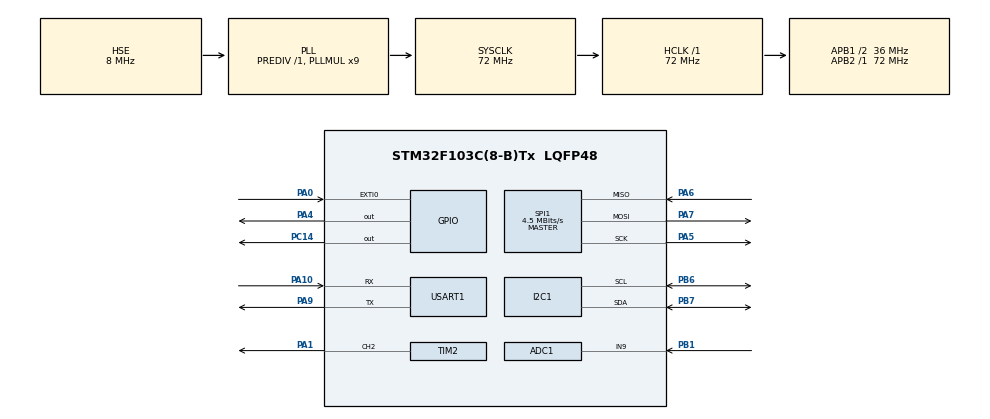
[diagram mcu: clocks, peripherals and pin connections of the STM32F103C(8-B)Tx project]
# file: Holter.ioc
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ADC1.Channel-1\#ChannelRegularConversion=ADC_CHANNEL_9
ADC1.ContinuousConvMode=DISABLE
ADC1.EnableInjectedConversion=DISABLE
ADC1.EnableRegularConversion=ENABLE
ADC1.ExternalTrigConv=ADC_EXTERNALTRIGCONV_T2_CC2
ADC1.NbrOfConversionFlag=1
ADC1.Rank-1\#ChannelRegularConversion=1
ADC1.SamplingTime-1\#ChannelRegularConversion=ADC_SAMPLETIME_239CYCLES_5
ADC1.master=1
Dma.ADC1.0.Direction=DMA_PERIPH_TO_MEMORY
Dma.ADC1.0.Instance=DMA1_Channel1
Dma.ADC1.0.MemDataAlignment=DMA_MDATAALIGN_HALFWORD
Dma.ADC1.0.MemInc=DMA_MINC_ENABLE
Dma.ADC1.0.Mode=DMA_CIRCULAR
Dma.ADC1.0.PeriphDataAlignment=DMA_PDATAALIGN_HALFWORD
Dma.ADC1.0.PeriphInc=DMA_PINC_DISABLE
Dma.ADC1.0.Priority=DMA_PRIORITY_HIGH
Dma.Request0=ADC1
FATFS._MAX_SS=4096
FATFS._USE_LFN=1
I2C1.I2C_Mode=I2C_Standard
Mcu.Family=STM32F1
Mcu.Name=STM32F103C(8-B)Tx
Mcu.Package=LQFP48
NVIC.DMA1_Channel1_IRQn=true\:0\:0\:false\:false\:true\:false\:true\:true
NVIC.EXTI0_IRQn=true\:0\:0\:false\:false\:true\:true\:true\:true
NVIC.PriorityGroup=NVIC_PRIORITYGROUP_4
PA0-WKUP.GPIO_ModeDefaultEXTI=GPIO_MODE_IT_FALLING
PA0-WKUP.Signal=GPXTI0
PA1.Signal=S_TIM2_CH2
PA10.Mode=Asynchronous
PA10.Signal=USART1_RX
PA13.Mode=Serial_Wire
PA13.Signal=SYS_JTMS-SWDIO
PA14.Mode=Serial_Wire
PA14.Signal=SYS_JTCK-SWCLK
PA4.GPIO_Speed=GPIO_SPEED_FREQ_MEDIUM
PA4.PinState=GPIO_PIN_SET
PA4.Signal=GPIO_Output
PA5.Mode=Full_Duplex_Master
PA5.Signal=SPI1_SCK
PA6.Mode=Full_Duplex_Master
PA6.Signal=SPI1_MISO
PA7.Mode=Full_Duplex_Master
PA7.Signal=SPI1_MOSI
PA9.Mode=Asynchronous
PA9.Signal=USART1_TX
PB1.Signal=ADCx_IN9
PB6.Mode=I2C
PB6.Signal=I2C1_SCL
PB7.Mode=I2C
PB7.Signal=I2C1_SDA
PC14-OSC32_IN.Signal=GPIO_Output
PD0-OSC_IN.Mode=HSE-External-Oscillator
PD0-OSC_IN.Signal=RCC_OSC_IN
PD1-OSC_OUT.Mode=HSE-External-Oscillator
PD1-OSC_OUT.Signal=RCC_OSC_OUT
ProjectManager.HeapSize=0x200
ProjectManager.StackSize=0x400
ProjectManager.TargetToolchain=STM32CubeIDE
RCC.ADCPresc=RCC_ADCPCLK2_DIV6
RCC.AHBFreq_Value=72000000
RCC.APB1CLKDivider=RCC_HCLK_DIV2
RCC.APB1Freq_Value=36000000
RCC.APB1TimFreq_Value=72000000
RCC.APB2Freq_Value=72000000
RCC.APB2TimFreq_Value=72000000
RCC.HCLKFreq_Value=72000000
RCC.PLLMUL=RCC_PLL_MUL9
RCC.PLLSourceVirtual=RCC_PLLSOURCE_HSE
RCC.SYSCLKFreq_VALUE=72000000
RCC.SYSCLKSource=RCC_SYSCLKSOURCE_PLLCLK
RCC.USBFreq_Value=72000000
SH.ADCx_IN9.0=ADC1_IN9,IN9
SH.S_TIM2_CH2.0=TIM2_CH2,PWM Generation2 CH2
SPI1.BaudRatePrescaler=SPI_BAUDRATEPRESCALER_16
SPI1.CalculateBaudRate=4.5 MBits/s
SPI1.Direction=SPI_DIRECTION_2LINES
SPI1.Mode=SPI_MODE_MASTER
SPI1.VirtualType=VM_MASTER
TIM2.Channel-PWM\ Generation2\ CH2=TIM_CHANNEL_2
TIM2.OCMode_PWM-PWM\ Generation2\ CH2=TIM_OCMODE_PWM2
TIM2.Period=99
TIM2.Prescaler=1439
TIM2.Pulse-PWM\ Generation2\ CH2=50
TIM2.TIM_MasterOutputTrigger=TIM_TRGO_OC2REF
USART1.VirtualMode=VM_ASYNC
VP_FATFS_VS_Generic.Mode=User_defined
VP_TIM2_VS_ClockSourceINT.Mode=Internal
board=custom

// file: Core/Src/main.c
/* USER CODE BEGIN Header */
/**
 * Version funcional 100% ok

 *
  ******************************************************************************
  * @file           : main.c
  * @brief          : Main program body
  ******************************************************************************
  * @attention
  *
  * Copyright (c) 2025 STMicroelectronics.
  * All rights reserved.
  *
  * This software is licensed under terms that can be found in the LICENSE file
  * in the root directory of this software component.
  * If no LICENSE file comes with this software, it is provided AS-IS.
  *
  ******************************************************************************
  ******************************************************************************
  SPI:
  A4 - CS
  A5 - SCK
  A6 - MISO
  A7 - MOSI
  */
/* USER CODE END Header */
#include "main.h"
#include "fatfs.h"

/* USER CODE BEGIN Includes */
#include <string.h>
#include <stdio.h>

#define ARM_MATH_CM3   // para tu STM32F1 (Cortex-M3)
#include "arm_math.h"
#include "filter_coeffs_q15.h"
#define USE_FILTER   0//1   // pon 0 para grabar crudo
#if USE_FILTER

	static arm_biquad_casd_df1_inst_q15 S;
#endif

/* USER CODE END Includes */

ADC_HandleTypeDef hadc1;
DMA_HandleTypeDef hdma_adc1;

I2C_HandleTypeDef hi2c1;

SPI_HandleTypeDef hspi1;

TIM_HandleTypeDef htim2;

UART_HandleTypeDef huart1;

/* USER CODE BEGIN PV */
uint16_t adc_val = 0;
char msg[32];

#define PF_ALERT_GPIO_Port GPIOA
#define PF_ALERT_Pin       GPIO_PIN_0 // El pin EXTI0
// NUEVAS BANDERAS:
static volatile uint8_t power_fail_flag = 0; // Flag de alerta desde EXTI
static volatile uint8_t acquiring_data = 0;  // Flag de estado del sistema
volatile uint8_t power_is_on = 1;

/* USER CODE END PV */

void SystemClock_Config(void);
static void MX_GPIO_Init(void);
static void MX_DMA_Init(void);
static void MX_USART1_UART_Init(void);
static void MX_ADC1_Init(void);
static void MX_SPI1_Init(void);
static void MX_TIM2_Init(void);
static void MX_I2C1_Init(void);
/* USER CODE BEGIN PFP */
static void log_uart(const char *txt, FRESULT fr)
{
    char buf[64];
    int n = sprintf(buf, "%s: %d\r\n", txt, fr);
    HAL_UART_Transmit(&huart1, (uint8_t*)buf, n, HAL_MAX_DELAY);
}
uint8_t decToBcd(uint8_t val) {
    return ( (val/10*16) + (val%10) );
}
uint8_t bcdToDec(uint8_t val) {
    return ( (val/16*10) + (val%16) );
}

/* --- add near top --- */
#define DS3231_ADDR_7BIT 0x68
#define DS3231_ADDR      (DS3231_ADDR_7BIT << 1)

void DS3231_SetTimeDate(uint8_t hour, uint8_t min, uint8_t sec,
                        uint8_t day, uint8_t date, uint8_t month, uint8_t year)
{
    uint8_t buffer[7];
    buffer[0] = decToBcd(sec);
    buffer[1] = decToBcd(min);
    buffer[2] = decToBcd(hour);   // formato 24h
    buffer[3] = decToBcd(day);    // 1=lunes … 7=domingo
    buffer[4] = decToBcd(date);
    buffer[5] = decToBcd(month);
    buffer[6] = decToBcd(year);   // últimos 2 dígitos

    HAL_I2C_Mem_Write(&hi2c1, DS3231_ADDR, 0x00, 1, buffer, 7, HAL_MAX_DELAY);
}
typedef struct {
    uint8_t sec;
    uint8_t min;
    uint8_t hour;
    uint8_t day;    // día de la semana
    uint8_t date;   // día del mes
    uint8_t month;
    uint8_t year;
} RTC_DateTime;

/* ----------------- helpers ------------------ */
static FRESULT write_timestamp_line(FIL *ftime, uint32_t block_idx, const RTC_DateTime *dt)
{
    char line[64];
    int n = snprintf(line, sizeof(line), "%06lu,%04u-%02u-%02u %02u:%02u:%02u\r\n",
                     (unsigned long)block_idx,
                     2000 + dt->year, dt->month, dt->date,
                     dt->hour, dt->min, dt->sec);
    UINT bw = 0;
    return f_write(ftime, line, n, &bw);
}
/* ----------------- helpers ------------------ */
// Función de log unificada para OPEN, CLOSE y BLOCK
static FRESULT write_log_line(FIL *ftime, const char *prefix, uint32_t block_idx, const RTC_DateTime *dt)
{
    char line[64];
    int n;
    UINT bw = 0;

    if (strcmp(prefix, "BLOCK") == 0) {
        // Formato: 000000,YYYY-MM-DD HH:MM:SS
        n = snprintf(line, sizeof(line), "%06lu,%04u-%02u-%02u %02u:%02u:%02u\r\n",
                     (unsigned long)block_idx,
                     2000 + dt->year, dt->month, dt->date,
                     dt->hour, dt->min, dt->sec);
    } else { // "OPEN" o "CLOSE"
        // Formato: OPEN,YYYY-MM-DD HH:MM:SS
        n = snprintf(line, sizeof(line), "%s,%04u-%02u-%02u %02u:%02u:%02u\r\n",
                     prefix,
                     2000 + dt->year, dt->month, dt->date,
                     dt->hour, dt->min, dt->sec);
    }
    return f_write(ftime, line, n, &bw);
}
/* Use consistent HAL I2C functions: */
void DS3231_GetTimeDate(RTC_DateTime *dt)
{
    uint8_t buffer[7];
    HAL_I2C_Mem_Read(&hi2c1, DS3231_ADDR, 0x00, 1, buffer, 7, HAL_MAX_DELAY);
    dt->sec   = bcdToDec(buffer[0]);
    dt->min   = bcdToDec(buffer[1]);
    dt->hour  = bcdToDec(buffer[2] & 0x3F);
    dt->day   = bcdToDec(buffer[3]);
    dt->date  = bcdToDec(buffer[4]);
    dt->month = bcdToDec(buffer[5]);
    dt->year  = bcdToDec(buffer[6]);
}

/* ---- Función que crea ambos archivos (ECG + TST) con el mismo índice ---- */
static FRESULT Open_Paired_Files(FIL *f_ecg, FIL *f_tst)
{
    char name_ecg[24], name_tst[24];
    FRESULT fr;
    for (int i = 1; i < 1000; ++i)
    {
        snprintf(name_ecg, sizeof(name_ecg), "FILE_%03d.ECG", i);
        FILINFO finfo;
        if (f_stat(name_ecg, &finfo) == FR_OK) continue; // existe, probar siguiente

        // crear ECG
        fr = f_open(f_ecg, name_ecg, FA_CREATE_ALWAYS | FA_WRITE | FA_READ);
        if (fr != FR_OK) return fr;

        // crear TST con mismo índice
        snprintf(name_tst, sizeof(name_tst), "FILE_%03d.TST", i);
        fr = f_open(f_tst, name_tst, FA_CREATE_ALWAYS | FA_WRITE | FA_READ);

        if (fr != FR_OK)
        {
            f_close(f_ecg);
            return fr;
        }

        return FR_OK; // ambos creados
    }
    return FR_DISK_ERR;
}

//FIltro digitl
static inline uint16_t process_sample(uint16_t raw)
{
#if USE_FILTER
    q15_t x = ADC_TO_Q15(raw);
    q15_t y;
    arm_biquad_cascade_df1_q15(&S, &x, &y, 1);
    return Q15_TO_ADC(y);
#else
    return raw;
#endif
}

///////////////////////////////////////+++++++++++++++++++++++++++++++
#include <math.h>  // necesario para lroundf
#include <stdbool.h>
static const uint8_t  NOTCH_HZ = 60;      // 50, 60 o 0 (desactivado)
/* ============== FILTROS ============== */
/* Parámetros Hampel / Media móvil */
#define HAMP_WIN 7
#define HAMP_K   6.0f
#define MA_WIN   9

/* Estado de filtros */
struct ECGFilt {
  // High-pass 0.5 Hz (biquad)
  float hp_b0, hp_b1, hp_b2, hp_a1, hp_a2;
  float hp_x1, hp_x2, hp_y1, hp_y2;

  // Notch opcional
  bool  notch_en;
  float no_b0, no_b1, no_b2, no_a1, no_a2;
  float no_x1, no_x2, no_y1, no_y2;

  // Hampel
  float ring[HAMP_WIN];
  int   idx;
  bool  primed;

  // Media móvil
  float ma_ring[MA_WIN];
  int   ma_idx;
  float ma_sum;
  bool  ma_primed;
} g;

static inline float biquad_step(float x,
        float b0, float b1, float b2,
        float a1, float a2,
        float *x1, float *x2,
        float *y1, float *y2)
{
    float y = b0*x + b1*(*x1) + b2*(*x2) - a1*(*y1) - a2*(*y2);
    *x2 = *x1;
    *x1 = x;
    *y2 = *y1;
    *y1 = y;
    return y;
}

/* Inicializa High-pass 0.5 Hz (bilineal, Q ~ 0.707) */
void biquad_init_hp_0p5Hz() {
  const float fs = (float)FS_HZ;
  const float fc = 0.5f;
  const float q  = 0.707f;
  const float K  = tanf(PI * fc / fs);
  const float norm = 1.0f / (1.0f + K/q + K*K);
  g.hp_b0 =  1.0f * norm;
  g.hp_b1 = -2.0f * norm;
  g.hp_b2 =  1.0f * norm;
  g.hp_a1 =  2.0f*(K*K - 1.0f) * norm;
  g.hp_a2 =  (1.0f - K/q + K*K) * norm;
  g.hp_x1 = g.hp_x2 = g.hp_y1 = g.hp_y2 = 0.0f;
}

/* Inicializa Notch (50/60 Hz) con Q ~ 30 */
void biquad_init_notch(uint8_t f0_hz)
{
  if (f0_hz == 0) { g.notch_en = false; return; }
  const float fs   = (float)FS_HZ;
  const float q    = 30.0f;
  const float w0   = 2.0f*PI * (float)f0_hz / fs;
  const float cosw = cosf(w0), sinw = sinf(w0);
  const float alpha= sinw/(2.0f*q);

  float b0=1.0f, b1=-2.0f*cosw, b2=1.0f;
  float a0=1.0f+alpha, a1=-2.0f*cosw, a2=1.0f-alpha;

  g.no_b0 = b0/a0; g.no_b1 = b1/a0; g.no_b2 = b2/a0;
  g.no_a1 = a1/a0; g.no_a2 = a2/a0;
  g.no_x1 = g.no_x2 = g.no_y1 = g.no_y2 = 0.0f;
  g.notch_en = true;
}

/* Mediana y MAD de 7 (inserción) */
static float median7(const float *v) {
  float a[HAMP_WIN];
  for (int i=0;i<HAMP_WIN;i++) a[i]=v[i];
  for (int i=1;i<HAMP_WIN;i++){
    float key=a[i]; int j=i-1;
    while (j>=0 && a[j]>key){ a[j+1]=a[j]; j--; }
    a[j+1]=key;
  }
  return a[HAMP_WIN/2];
}
static float mad7(const float *v, float med) {
  float d[HAMP_WIN];
  for (int i=0;i<HAMP_WIN;i++) d[i]=fabsf(v[i]-med);
  for (int i=1;i<HAMP_WIN;i++){
    float key=d[i]; int j=i-1;
    while (j>=0 && d[j]>key){ d[j+1]=d[j]; j--; }
    d[j+1]=key;
  }
  return 1.4826f * d[HAMP_WIN/2] + 1e-6f;
}

/* Init pipeline */
void ecgFilt_init()
{
  memset(&g, 0, sizeof(g));
  biquad_init_hp_0p5Hz();
  biquad_init_notch(NOTCH_HZ); // 50, 60 o 0
}

/* Una muestra raw (centrada) -> filtrada */
float ecgFilt_step(int16_t x_raw) {
  float x = (float)x_raw;

  // 1) High-pass 0.5 Hz
  x = biquad_step(x, g.hp_b0,g.hp_b1,g.hp_b2,g.hp_a1,g.hp_a2,
                     &g.hp_x1, &g.hp_x2, &g.hp_y1, &g.hp_y2);
  // 2) Notch 50/60 (opcional)
  if (g.notch_en) {
    x = biquad_step(x, g.no_b0,g.no_b1,g.no_b2,g.no_a1,g.no_a2,
    				&g.hp_x1, &g.hp_x2, &g.hp_y1, &g.hp_y2);
  }
  // 3) Hampel(7)
  g.ring[g.idx] = x;
  int center = g.idx;
  g.idx = (g.idx + 1) % HAMP_WIN;
  if (!g.primed && g.idx==0) g.primed = true;

  float x_h = x;
  if (g.primed) {
    float w[HAMP_WIN];
    for (int k=0;k<HAMP_WIN;k++){
      int pos = (center - (HAMP_WIN-1) + k + HAMP_WIN) % HAMP_WIN;
      w[k] = g.ring[pos];
    }
    float med = median7(w);
    float mad = mad7(w, med);
    if (fabsf(x - med) > HAMP_K * mad) x_h = med; // reemplaza outlier
  }
  // 4) Media móvil 9
  g.ma_sum -= g.ma_ring[g.ma_idx];
  g.ma_ring[g.ma_idx] = x_h;
  g.ma_sum += x_h;
  g.ma_idx = (g.ma_idx + 1) % MA_WIN;
  if (!g.ma_primed && g.ma_idx==0) g.ma_primed = true;

  float y = g.ma_primed ? (g.ma_sum/(float)MA_WIN) : x_h;
  return y;
}

/* USER CODE END PFP */

/* USER CODE BEGIN 0 */

/* ---- Parámetros de adquisición ---- */
#define LED_GPIO_Port GPIOC
#define LED_Pin GPIO_PIN_14

#define ECG_FS_HZ            500U
#define HALF_SAMPLES         1024U          // media del buffer
#define BUF_SAMPLES          (HALF_SAMPLES*2)
static uint16_t adcBuf[BUF_SAMPLES];        // buffer circular DMA (ping-pong)

static volatile uint8_t half_ready = 0;
static volatile uint8_t full_ready = 0;

//tal vez
static volatile uint16_t procBuf[BUF_SAMPLES];  // salida procesada

/* ---- SD/FatFS ---- */
FATFS SDFatFs;
//FIL   file;
UINT  bw;

/* ---- Prototipos ---- */
static void ECG_Start(void);
static void ECG_Stop(void);
static FRESULT Open_Next_File(FIL *fp);
static void write_half_bigendian(FIL *fp, const uint16_t *src, UINT nSamples);

/* ============ Adquisición ============ */
static void ECG_Start(void)
{
	/* Arrancar la salida OC2 (generar OC2REF) */
	  HAL_TIM_PWM_Start(&htim2, TIM_CHANNEL_2);

	  /* Iniciar timer que dispara el ADC a 500 Hz (TIM2->TRGO configurado en Cube) */
	    HAL_TIM_Base_Start(&htim2);

  /* DMA circular llenando adcBuf */
  HAL_ADC_Start_DMA(&hadc1, (uint32_t*)adcBuf, BUF_SAMPLES);

}

static void ECG_Stop(void)
{
	HAL_ADC_Stop_DMA(&hadc1);
	HAL_TIM_Base_Stop(&htim2);
	HAL_TIM_PWM_Stop(&htim2, TIM_CHANNEL_2);
}

/* Callbacks DMA: marcan qué mitad del buffer está lista para escribir */
void HAL_ADC_ConvHalfCpltCallback(ADC_HandleTypeDef *hadc)
{
  if (hadc->Instance == ADC1) half_ready = 1;

}
void HAL_ADC_ConvCpltCallback(ADC_HandleTypeDef *hadc)
{
  if (hadc->Instance == ADC1) full_ready = 1;

}

/* Escribe N muestras en big-endian (alto luego bajo) en múltiplos de 512B */
static void write_half_bigendian(FIL *fp, const uint16_t *src, UINT nSamples)
{
  /* Convertimos a un buffer de bytes big-endian:
     1024 muestras -> 2048 bytes -> 4 bloques de 512B (ideal para SD) */
  static uint8_t beBuf[HALF_SAMPLES * 2];
  UINT nBytes = nSamples * 2;
  for (UINT i = 0, j = 0; i < nSamples; ++i) {
    uint16_t v = src[i];              // little-endian en RAM (STM32)
    beBuf[j++] = (uint8_t)(v >> 8);   // byte alto primero
    beBuf[j++] = (uint8_t)(v & 0xFF); // byte bajo después
  }
  UINT wrote = 0;
  FRESULT fr = f_write(fp, beBuf, nBytes, &wrote);
  if (fr != FR_OK || wrote != nBytes) {
    // error de escritura -> maneja según tu criterio (cerrar, reintentar, etc.)
    while (1);
  }
}

/* ---- Nuevo: Función de Cierre Seguro (Safe Shutdown) ---- */
static void Safe_Shutdown(FIL *f_ecg, FIL *f_tst)
{
    RTC_DateTime dt_close;

    // 1. Detener adquisición DMA/Timer
    ECG_Stop();

    // 2. Obtener hora de cierre del DS3231 (usa la energía del supercapacitor)
    DS3231_GetTimeDate(&dt_close);

    // 3. Escribir la marca de cierre en el log .TST
    write_log_line(f_tst, "CLOSE", 0, &dt_close);

    // 4. Sincronizar y cerrar archivos (Operaciones críticas)
    uint32_t t0 = HAL_GetTick();

    f_sync(f_ecg);
    f_sync(f_tst);
    f_close(f_ecg);
    f_close(f_tst);

    // si toma demasiado tiempo, fuerza apagado físico
    if (HAL_GetTick() - t0 > 1000)
    {
        // algo falló, desmonta igualmente
        f_mount(NULL, "", 0);
    }

    // desmonta SD
    f_mount(NULL, "", 0);

    // 5. Señalizar que el programa debe terminar
    acquiring_data = 0;
}

/* ---- Callback de Interrupción Externa (PA0 / PF_ALERT) ---- */
void HAL_GPIO_EXTI_Callback(uint16_t GPIO_Pin)
{
    if (GPIO_Pin == PF_ALERT_Pin)
    {
    	if (power_is_on)
		{
    		//flanco descendente
    		power_is_on = 0;

			// 1. Deshabilitar la interrupción para evitar rebotes o re-entradas.
			HAL_NVIC_DisableIRQ(EXTI0_IRQn);

			// 2. Detener la adquisición inmediatamente (crítico para la integridad de los buffers DMA)
//			__disable_irq();
//			ECG_Stop(); // Detiene ADC/DMA/Timer
//			__enable_irq();
			// 3. Establecer el flag de falla para que el main() ejecute el cierre seguro (FatFS)
			power_fail_flag = 1;
		}
    	else
    	{
    		//flanco ascendente
			NVIC_SystemReset(); // reinicio seguro
    	}
    }
}

void Reconfigure_EXTI0_Rising(void)
{
    GPIO_InitTypeDef GPIO_InitStruct = {0};

    HAL_NVIC_DisableIRQ(EXTI0_IRQn);

    GPIO_InitStruct.Pin = GPIO_PIN_0;
    GPIO_InitStruct.Mode = GPIO_MODE_IT_RISING;
    GPIO_InitStruct.Pull = GPIO_NOPULL;
    HAL_GPIO_Init(GPIOA, &GPIO_InitStruct);

    HAL_NVIC_SetPriority(EXTI0_IRQn, 0, 0);
    HAL_NVIC_EnableIRQ(EXTI0_IRQn);
}

/* USER CODE END 0 */

int main(void)
{

  /* USER CODE BEGIN 1 */
	FIL file_ecg, file_tst;
	FRESULT fr;
	RTC_DateTime ts_next;
	uint32_t block_idx = 0;

  /* USER CODE END 1 */

  /* MCU Configuration--------------------------------------------------------*/

  /* Reset of all peripherals, Initializes the Flash interface and the Systick. */
  HAL_Init();

  /* Configure the system clock */
  SystemClock_Config();

  /* USER CODE BEGIN SysInit */
  HAL_Delay(30);
  /* USER CODE END SysInit */

  /* Initialize all configured peripherals */
  MX_GPIO_Init();
  MX_DMA_Init();
  MX_USART1_UART_Init();
  MX_ADC1_Init();
  MX_SPI1_Init();
  MX_FATFS_Init();
  MX_TIM2_Init();
  MX_I2C1_Init();
  /* USER CODE BEGIN 2 */
  // Configurar: 11:34:20, jueves (4), 2 octubre 2025
  //DS3231_SetTimeDate(11, 34, 20, 4, 2, 10, 25);

  ecgFilt_init();

  /////////////////////////////////////////////////////
  log_uart("Inicialiazando....", 0 );

	/* Montar SD */
	//FRESULT fr;
	fr = f_mount(&SDFatFs, "", 0);
	log_uart("Montando SD", fr);
	if (fr != FR_OK)
	{
		log_uart("Error montando SD", 0 );
		while (1);  // aquí sabrás el código exacto
	}

	log_uart("Creando los pares de archivos", fr);
    fr = Open_Paired_Files(&file_ecg, &file_tst);
    if (fr != FR_OK)
    {
    	log_uart("Error Creando los pares de archivos", fr);
         //Error_Handler();
    	while (1);
     }

   // NUEVO: Registrar hora de apertura ("OPEN")

   DS3231_GetTimeDate(&ts_next);
   write_log_line(&file_tst, "OPEN", 0, &ts_next);
   f_sync(&file_tst); // Escribir inmediatamente la marca de apertura

   log_uart("INIT ", 0);
    for (int i=0; i<(2*3); i++)
    {
    	HAL_GPIO_TogglePin(LED_GPIO_Port, LED_Pin);
    	HAL_Delay(50);
    }

    // NUEVO: Activar flag de adquisición
	 acquiring_data = 1;

     // preparar primer timestamp
	 DS3231_GetTimeDate(&ts_next);
     /* Iniciar adquisición determinista: TIM2 -> ADC -> DMA (circular) */
    ECG_Start();

    /* Objetivo: 30 s @ 500 Hz => 15000 muestras */
    uint32_t targetSamples  = 5U * ECG_FS_HZ;
    uint32_t writtenSamples = 0;
    //while (writtenSamples < targetSamples)
	while 	(acquiring_data)
    {
		if (power_fail_flag)
		{
		  // La EXTI Callback ya ha detenido la adquisición (ECG_Stop())
		  log_uart("Bateria off", 0);
		  __disable_irq();
		  ECG_Stop(); // Detiene ADC/DMA/Timer
		  Safe_Shutdown(&file_ecg, &file_tst); 	// Ejecuta FatFS f_close()
		  __enable_irq();

		  break; 								// Sale del bucle para detener la ejecución
		}

      if (half_ready)
      {
    	log_uart("HR", 0);

        half_ready = 0;

        // El offset de escritura es 0 (primera mitad de procBuf)
        uint16_t *dest_ptr = &procBuf[0];

        for (UINT i = 0; i < HALF_SAMPLES; i++)
        {
        	uint16_t raw  = adcBuf[i];

        	// 1. Centrado (Correcto)
			int16_t centered = (int16_t)((int32_t)raw - 2048);
			// 2. Filtrado (Correcto)
			float y = ecgFilt_step(centered);
			// 3.Descentrado (Corrección)
			// Convertimos de float a int32 (redondeo)
			int32_t s_centered = lroundf(y);
			// Sumamos el offset (2048) para devolver al rango 0-4095
			int32_t s_unsigned = s_centered + 2048;
			// Aseguramos que no nos salimos del rango (Clamping/Saturación)
			if (s_unsigned < 0) s_unsigned = 0;
			if (s_unsigned > 4095) s_unsigned = 4095;

			uint16_t u = (uint16_t)s_unsigned;
			dest_ptr[i] = u; //Ahora escribe la señal filtrada en el rango 0-4095
        }

        /* Escribir PRIMERA mitad del buffer: 1024 muestras => 2048 bytes (big-endian) */
        //write_timestamp_line(&file_tst, block_idx, &ts_next);
        write_log_line(&file_tst, "BLOCK", block_idx, &ts_next); // Usar "BLOCK"
		write_half_bigendian(&file_ecg, &procBuf[0], HALF_SAMPLES);

		// preparar siguiente timestamp
		DS3231_GetTimeDate(&ts_next);
		block_idx++;
		writtenSamples += HALF_SAMPLES;

		//
		HAL_GPIO_WritePin(LED_GPIO_Port, LED_Pin, GPIO_PIN_SET);
		HAL_Delay(10);
		HAL_GPIO_WritePin(LED_GPIO_Port, LED_Pin, GPIO_PIN_RESET);
		//

      }
      if (full_ready)
      {
    	log_uart("FR", 0);
        full_ready = 0;

        uint16_t *dest_ptr = &procBuf[HALF_SAMPLES];

        for (UINT i = 0; i < HALF_SAMPLES; i++)
		{
			uint16_t raw  = adcBuf[HALF_SAMPLES + i];

			// 1. Centrado (Correcto)
			int16_t centered = (int16_t)((int32_t)raw - 2048);
			// 2. Filtrado (Correcto)
			float y = ecgFilt_step(centered);
			// 3. Descentrado (Corrección)
			// Convertimos de float a int32 (redondeo)
			int32_t s_centered = lroundf(y);
			// Sumamos el offset (2048) para devolver al rango 0-4095
			int32_t s_unsigned = s_centered + 2048;
			// Aseguramos que no nos salimos del rango (Clamping/Saturación)
			if (s_unsigned < 0) s_unsigned = 0;
			if (s_unsigned > 4095) s_unsigned = 4095;

			uint16_t u = (uint16_t)s_unsigned;
			dest_ptr[i] = u; //Ahora escribe la señal filtrada en el rango 0-4095
		}

        /* Escribir SEGUNDA mitad del buffer */
        //write_timestamp_line(&file_tst, block_idx, &ts_next);
        write_log_line(&file_tst, "BLOCK", block_idx, &ts_next); // Usar "BLOCK"
        write_half_bigendian(&file_ecg, &procBuf[HALF_SAMPLES], HALF_SAMPLES);

        DS3231_GetTimeDate(&ts_next);
        block_idx++;
        writtenSamples += HALF_SAMPLES;

        //
		HAL_GPIO_WritePin(LED_GPIO_Port, LED_Pin, GPIO_PIN_SET);
		HAL_Delay(10);
		HAL_GPIO_WritePin(LED_GPIO_Port, LED_Pin, GPIO_PIN_RESET);
		//
      }

      /* Sync cada ~4 bloques (8KB) */
        if ((writtenSamples % (HALF_SAMPLES*4)) == 0)
        {
            f_sync(&file_ecg);
            f_sync(&file_tst);
        }
    }
	//

	// ELIMINADAS las llamadas a ECG_Stop() y f_close() ya que están en Safe_Shutdown.
//    ECG_Stop();
//    f_close(&file_ecg);
//    f_close(&file_tst);

	log_uart("fin logueo", 0);

	/* Señal de fin OK (parpadeo LED si quieres) */
    for (int i=0; i< (2*3); i++)
    {
      HAL_GPIO_TogglePin(LED_GPIO_Port, LED_Pin);
      HAL_Delay(300);
    }

    // Reconfigura PA0 para detectar el retorno (flanco ascendente)
   Reconfigure_EXTI0_Rising();
   //__WFI(); // espera en bajo consumo
   HAL_PWR_EnterSTOPMode(PWR_LOWPOWERREGULATOR_ON, PWR_STOPENTRY_WFI);
   while (1)
   {
	   ;
   }

  /* USER CODE END 2 */

  /* Infinite loop */

}

void SystemClock_Config(void)
{
  RCC_OscInitTypeDef RCC_OscInitStruct = {0};
  RCC_ClkInitTypeDef RCC_ClkInitStruct = {0};
  RCC_PeriphCLKInitTypeDef PeriphClkInit = {0};

  /** Initializes the RCC Oscillators according to the specified parameters
  * in the RCC_OscInitTypeDef structure.
  */
  RCC_OscInitStruct.OscillatorType = RCC_OSCILLATORTYPE_HSE;
  RCC_OscInitStruct.HSEState = RCC_HSE_ON;
  RCC_OscInitStruct.HSEPredivValue = RCC_HSE_PREDIV_DIV1;
  RCC_OscInitStruct.HSIState = RCC_HSI_ON;
  RCC_OscInitStruct.PLL.PLLState = RCC_PLL_ON;
  RCC_OscInitStruct.PLL.PLLSource = RCC_PLLSOURCE_HSE;
  RCC_OscInitStruct.PLL.PLLMUL = RCC_PLL_MUL9;
  if (HAL_RCC_OscConfig(&RCC_OscInitStruct) != HAL_OK)
  {
    Error_Handler();
  }

  /** Initializes the CPU, AHB and APB buses clocks
  */
  RCC_ClkInitStruct.ClockType = RCC_CLOCKTYPE_HCLK|RCC_CLOCKTYPE_SYSCLK
                              |RCC_CLOCKTYPE_PCLK1|RCC_CLOCKTYPE_PCLK2;
  RCC_ClkInitStruct.SYSCLKSource = RCC_SYSCLKSOURCE_PLLCLK;
  RCC_ClkInitStruct.AHBCLKDivider = RCC_SYSCLK_DIV1;
  RCC_ClkInitStruct.APB1CLKDivider = RCC_HCLK_DIV2;
  RCC_ClkInitStruct.APB2CLKDivider = RCC_HCLK_DIV1;

  if (HAL_RCC_ClockConfig(&RCC_ClkInitStruct, FLASH_LATENCY_2) != HAL_OK)
  {
    Error_Handler();
  }
  PeriphClkInit.PeriphClockSelection = RCC_PERIPHCLK_ADC;
  PeriphClkInit.AdcClockSelection = RCC_ADCPCLK2_DIV6;
  if (HAL_RCCEx_PeriphCLKConfig(&PeriphClkInit) != HAL_OK)
  {
    Error_Handler();
  }
}

static void MX_ADC1_Init(void)
{

  ADC_ChannelConfTypeDef sConfig = {0};

  /** Common config
  */
  hadc1.Instance = ADC1;
  hadc1.Init.ScanConvMode = ADC_SCAN_DISABLE;
  hadc1.Init.ContinuousConvMode = DISABLE;
  hadc1.Init.DiscontinuousConvMode = DISABLE;
  hadc1.Init.ExternalTrigConv = ADC_EXTERNALTRIGCONV_T2_CC2;
  hadc1.Init.DataAlign = ADC_DATAALIGN_RIGHT;
  hadc1.Init.NbrOfConversion = 1;
  if (HAL_ADC_Init(&hadc1) != HAL_OK)
  {
    Error_Handler();
  }

  /** Configure Regular Channel
  */
  sConfig.Channel = ADC_CHANNEL_9;
  sConfig.Rank = ADC_REGULAR_RANK_1;
  sConfig.SamplingTime = ADC_SAMPLETIME_239CYCLES_5;
  if (HAL_ADC_ConfigChannel(&hadc1, &sConfig) != HAL_OK)
  {
    Error_Handler();
  }

}

static void MX_I2C1_Init(void)
{

  hi2c1.Instance = I2C1;
  hi2c1.Init.ClockSpeed = 100000;
  hi2c1.Init.DutyCycle = I2C_DUTYCYCLE_2;
  hi2c1.Init.OwnAddress1 = 0;
  hi2c1.Init.AddressingMode = I2C_ADDRESSINGMODE_7BIT;
  hi2c1.Init.DualAddressMode = I2C_DUALADDRESS_DISABLE;
  hi2c1.Init.OwnAddress2 = 0;
  hi2c1.Init.GeneralCallMode = I2C_GENERALCALL_DISABLE;
  hi2c1.Init.NoStretchMode = I2C_NOSTRETCH_DISABLE;
  if (HAL_I2C_Init(&hi2c1) != HAL_OK)
  {
    Error_Handler();
  }

}

static void MX_SPI1_Init(void)
{

  /* SPI1 parameter configuration*/
  hspi1.Instance = SPI1;
  hspi1.Init.Mode = SPI_MODE_MASTER;
  hspi1.Init.Direction = SPI_DIRECTION_2LINES;
  hspi1.Init.DataSize = SPI_DATASIZE_8BIT;
  hspi1.Init.CLKPolarity = SPI_POLARITY_LOW;
  hspi1.Init.CLKPhase = SPI_PHASE_1EDGE;
  hspi1.Init.NSS = SPI_NSS_SOFT;
  hspi1.Init.BaudRatePrescaler = SPI_BAUDRATEPRESCALER_16;
  hspi1.Init.FirstBit = SPI_FIRSTBIT_MSB;
  hspi1.Init.TIMode = SPI_TIMODE_DISABLE;
  hspi1.Init.CRCCalculation = SPI_CRCCALCULATION_DISABLE;
  hspi1.Init.CRCPolynomial = 10;
  if (HAL_SPI_Init(&hspi1) != HAL_OK)
  {
    Error_Handler();
  }

}

static void MX_TIM2_Init(void)
{

  TIM_ClockConfigTypeDef sClockSourceConfig = {0};
  TIM_MasterConfigTypeDef sMasterConfig = {0};
  TIM_OC_InitTypeDef sConfigOC = {0};

  htim2.Instance = TIM2;
  htim2.Init.Prescaler = 1439;
  htim2.Init.CounterMode = TIM_COUNTERMODE_UP;
  htim2.Init.Period = 99;
  htim2.Init.ClockDivision = TIM_CLOCKDIVISION_DIV1;
  htim2.Init.AutoReloadPreload = TIM_AUTORELOAD_PRELOAD_DISABLE;
  if (HAL_TIM_Base_Init(&htim2) != HAL_OK)
  {
    Error_Handler();
  }
  sClockSourceConfig.ClockSource = TIM_CLOCKSOURCE_INTERNAL;
  if (HAL_TIM_ConfigClockSource(&htim2, &sClockSourceConfig) != HAL_OK)
  {
    Error_Handler();
  }
  if (HAL_TIM_PWM_Init(&htim2) != HAL_OK)
  {
    Error_Handler();
  }
  sMasterConfig.MasterOutputTrigger = TIM_TRGO_OC2REF;
  sMasterConfig.MasterSlaveMode = TIM_MASTERSLAVEMODE_DISABLE;
  if (HAL_TIMEx_MasterConfigSynchronization(&htim2, &sMasterConfig) != HAL_OK)
  {
    Error_Handler();
  }
  sConfigOC.OCMode = TIM_OCMODE_PWM2;
  sConfigOC.Pulse = 50;
  sConfigOC.OCPolarity = TIM_OCPOLARITY_HIGH;
  sConfigOC.OCFastMode = TIM_OCFAST_DISABLE;
  if (HAL_TIM_PWM_ConfigChannel(&htim2, &sConfigOC, TIM_CHANNEL_2) != HAL_OK)
  {
    Error_Handler();
  }
  HAL_TIM_MspPostInit(&htim2);

}

static void MX_USART1_UART_Init(void)
{

  huart1.Instance = USART1;
  huart1.Init.BaudRate = 115200;
  huart1.Init.WordLength = UART_WORDLENGTH_8B;
  huart1.Init.StopBits = UART_STOPBITS_1;
  huart1.Init.Parity = UART_PARITY_NONE;
  huart1.Init.Mode = UART_MODE_TX_RX;
  huart1.Init.HwFlowCtl = UART_HWCONTROL_NONE;
  huart1.Init.OverSampling = UART_OVERSAMPLING_16;
  if (HAL_UART_Init(&huart1) != HAL_OK)
  {
    Error_Handler();
  }

}

static void MX_DMA_Init(void)
{

  /* DMA controller clock enable */
  __HAL_RCC_DMA1_CLK_ENABLE();

  /* DMA interrupt init */
  /* DMA1_Channel1_IRQn interrupt configuration */
  HAL_NVIC_SetPriority(DMA1_Channel1_IRQn, 0, 0);
  HAL_NVIC_EnableIRQ(DMA1_Channel1_IRQn);

}

static void MX_GPIO_Init(void)
{
  GPIO_InitTypeDef GPIO_InitStruct = {0};

  /* GPIO Ports Clock Enable */
  __HAL_RCC_GPIOC_CLK_ENABLE();
  __HAL_RCC_GPIOD_CLK_ENABLE();
  __HAL_RCC_GPIOA_CLK_ENABLE();
  __HAL_RCC_GPIOB_CLK_ENABLE();

  /*Configure GPIO pin Output Level */
  HAL_GPIO_WritePin(GPIOC, GPIO_PIN_14, GPIO_PIN_RESET);

  /*Configure GPIO pin Output Level */
  HAL_GPIO_WritePin(GPIOA, GPIO_PIN_4, GPIO_PIN_SET);

  /*Configure GPIO pin : PC14 */
  GPIO_InitStruct.Pin = GPIO_PIN_14;
  GPIO_InitStruct.Mode = GPIO_MODE_OUTPUT_PP;
  GPIO_InitStruct.Pull = GPIO_NOPULL;
  GPIO_InitStruct.Speed = GPIO_SPEED_FREQ_LOW;
  HAL_GPIO_Init(GPIOC, &GPIO_InitStruct);

  /*Configure GPIO pin : PA0 */
  GPIO_InitStruct.Pin = GPIO_PIN_0;
  GPIO_InitStruct.Mode = GPIO_MODE_IT_FALLING;
  GPIO_InitStruct.Pull = GPIO_NOPULL;
  HAL_GPIO_Init(GPIOA, &GPIO_InitStruct);

  /*Configure GPIO pin : PA4 */
  GPIO_InitStruct.Pin = GPIO_PIN_4;
  GPIO_InitStruct.Mode = GPIO_MODE_OUTPUT_PP;
  GPIO_InitStruct.Pull = GPIO_NOPULL;
  GPIO_InitStruct.Speed = GPIO_SPEED_FREQ_MEDIUM;
  HAL_GPIO_Init(GPIOA, &GPIO_InitStruct);

  /* EXTI interrupt init*/
  HAL_NVIC_SetPriority(EXTI0_IRQn, 0, 0);
  HAL_NVIC_EnableIRQ(EXTI0_IRQn);

}

void Error_Handler(void)
{
  __disable_irq();
  while (1)
  {
  }
}
